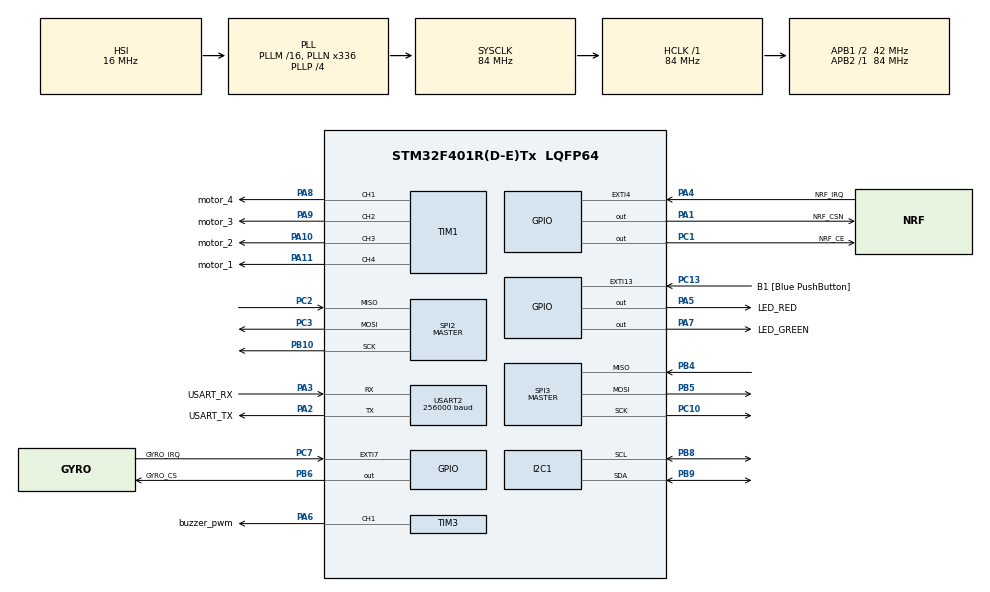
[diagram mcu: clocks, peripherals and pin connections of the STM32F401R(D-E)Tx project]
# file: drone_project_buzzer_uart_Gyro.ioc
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Mcu.Family=STM32F4
Mcu.Name=STM32F401R(D-E)Tx
Mcu.Package=LQFP64
NVIC.EXTI9_5_IRQn=true\:0\:0\:false\:false\:true\:true\:true\:true
NVIC.PriorityGroup=NVIC_PRIORITYGROUP_0
NVIC.USART2_IRQn=true\:0\:0\:false\:false\:true\:true\:true\:true
PA1.GPIO_Label=NRF_CSN
PA1.Signal=GPIO_Output
PA10.GPIO_Label=motor_2
PA10.Signal=S_TIM1_CH3
PA11.GPIO_Label=motor_1
PA11.Signal=S_TIM1_CH4
PA13.GPIO_Label=TMS
PA13.Signal=SYS_JTMS-SWDIO
PA14.GPIO_Label=TCK
PA14.Signal=SYS_JTCK-SWCLK
PA2.GPIO_Label=USART_TX
PA2.GPIO_Mode=GPIO_MODE_AF_PP
PA2.GPIO_PuPd=GPIO_NOPULL
PA2.GPIO_Speed=GPIO_SPEED_FREQ_LOW
PA2.Mode=Asynchronous
PA2.Signal=USART2_TX
PA3.GPIO_Label=USART_RX
PA3.GPIO_Mode=GPIO_MODE_AF_PP
PA3.GPIO_PuPd=GPIO_NOPULL
PA3.GPIO_Speed=GPIO_SPEED_FREQ_LOW
PA3.Mode=Asynchronous
PA3.Signal=USART2_RX
PA4.GPIO_Label=NRF_IRQ
PA4.Signal=GPXTI4
PA5.GPIO_Label=LED_RED
PA5.GPIO_Mode=GPIO_MODE_OUTPUT_PP
PA5.GPIO_PuPd=GPIO_NOPULL
PA5.GPIO_Speed=GPIO_SPEED_FREQ_LOW
PA5.Signal=GPIO_Output
PA6.GPIO_Label=buzzer_pwm
PA6.Signal=S_TIM3_CH1
PA7.GPIO_Label=LED_GREEN
PA7.Signal=GPIO_Output
PA8.GPIO_Label=motor_4
PA8.Signal=S_TIM1_CH1
PA9.GPIO_Label=motor_3
PA9.Signal=S_TIM1_CH2
PB10.Mode=Full_Duplex_Master
PB10.Signal=SPI2_SCK
PB3.GPIO_Label=SWO
PB3.Signal=SYS_JTDO-SWO
PB4.Mode=Full_Duplex_Master
PB4.Signal=SPI3_MISO
PB5.Mode=Full_Duplex_Master
PB5.Signal=SPI3_MOSI
PB6.GPIO_Label=GYRO_CS
PB6.GPIO_PuPd=GPIO_NOPULL
PB6.Signal=GPIO_Output
PB8.Mode=I2C
PB8.Signal=I2C1_SCL
PB9.Mode=I2C
PB9.Signal=I2C1_SDA
PC1.GPIO_Label=NRF_CE
PC1.Signal=GPIO_Output
PC10.Mode=Full_Duplex_Master
PC10.Signal=SPI3_SCK
PC13-ANTI_TAMP.GPIO_Label=B1 [Blue PushButton]
PC13-ANTI_TAMP.GPIO_ModeDefaultEXTI=GPIO_MODE_IT_FALLING
PC13-ANTI_TAMP.GPIO_PuPd=GPIO_NOPULL
PC13-ANTI_TAMP.Signal=GPXTI13
PC14-OSC32_IN.Signal=RCC_OSC32_IN
PC15-OSC32_OUT.Signal=RCC_OSC32_OUT
PC2.Mode=Full_Duplex_Master
PC2.Signal=SPI2_MISO
PC3.Mode=Full_Duplex_Master
PC3.Signal=SPI2_MOSI
PC7.GPIO_Label=GYRO_IRQ
PC7.Signal=GPXTI7
PH0\ -\ OSC_IN.Signal=RCC_OSC_IN
PH1\ -\ OSC_OUT.Signal=RCC_OSC_OUT
ProjectManager.HeapSize=0x200
ProjectManager.StackSize=0x400
ProjectManager.TargetToolchain=STM32CubeIDE
RCC.AHBFreq_Value=84000000
RCC.APB1CLKDivider=RCC_HCLK_DIV2
RCC.APB1Freq_Value=42000000
RCC.APB1TimFreq_Value=84000000
RCC.APB2Freq_Value=84000000
RCC.APB2TimFreq_Value=84000000
RCC.CortexFreq_Value=84000000
RCC.HCLKFreq_Value=84000000
RCC.HSE_VALUE=8000000
RCC.HSI_VALUE=16000000
RCC.LSE_VALUE=32768
RCC.PLLN=336
RCC.PLLP=RCC_PLLP_DIV4
RCC.PLLQ=7
RCC.SYSCLKFreq_VALUE=84000000
RCC.SYSCLKSource=RCC_SYSCLKSOURCE_PLLCLK
RCC.VCOOutputFreq_Value=336000000
SH.S_TIM1_CH1.0=TIM1_CH1,PWM Generation1 CH1
SH.S_TIM1_CH2.0=TIM1_CH2,PWM Generation2 CH2
SH.S_TIM1_CH3.0=TIM1_CH3,PWM Generation3 CH3
SH.S_TIM1_CH4.0=TIM1_CH4,PWM Generation4 CH4
SH.S_TIM3_CH1.0=TIM3_CH1,PWM Generation1 CH1
SPI2.Direction=SPI_DIRECTION_2LINES
SPI2.Mode=SPI_MODE_MASTER
SPI2.VirtualType=VM_MASTER
SPI3.BaudRatePrescaler=SPI_BAUDRATEPRESCALER_32
SPI3.Direction=SPI_DIRECTION_2LINES
SPI3.Mode=SPI_MODE_MASTER
SPI3.VirtualType=VM_MASTER
TIM1.Channel-PWM\ Generation1\ CH1=TIM_CHANNEL_1
TIM1.Channel-PWM\ Generation2\ CH2=TIM_CHANNEL_2
TIM1.Channel-PWM\ Generation3\ CH3=TIM_CHANNEL_3
TIM1.Channel-PWM\ Generation4\ CH4=TIM_CHANNEL_4
TIM3.AutoReloadPreload=TIM_AUTORELOAD_PRELOAD_ENABLE
TIM3.Channel-PWM\ Generation1\ CH1=TIM_CHANNEL_1
TIM3.Period=21
TIM3.Prescaler=999
TIM3.Pulse-PWM\ Generation1\ CH1=11
USART2.BaudRate=256000
USART2.VirtualMode=VM_ASYNC
VP_TIM3_VS_ClockSourceINT.Mode=Internal
board=NUCLEO-F401RE

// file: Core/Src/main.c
/* USER CODE BEGIN Header */
/**
  ******************************************************************************
  * @file           : main.c
  * @brief          : Main program body
  ******************************************************************************
  * @attention
  *
  * Copyright (c) 2024 STMicroelectronics.
  * All rights reserved.
  *
  * This software is licensed under terms that can be found in the LICENSE file
  * in the root directory of this software component.
  * If no LICENSE file comes with this software, it is provided AS-IS.
  *
  ******************************************************************************
  */
/* USER CODE END Header */
#include "main.h"
#include "i2c.h"
#include "spi.h"
#include "tim.h"
#include "usart.h"
#include "gpio.h"

/* USER CODE BEGIN Includes */
#include <stdio.h>
#include "mpu6500.h"
/* USER CODE END Includes */

/* USER CODE BEGIN PV */
uint16_t usart_data_req = 0 ;
uint8_t usart_rx_data  = 0;
uint8_t mpu_update = 0;

float gx, gy, gz ;
float ax, ay, az ;

/* USER CODE END PV */

void SystemClock_Config(void);

/* USER CODE BEGIN 0 */

int __io_putchar(int ch){
	while( !(LL_USART_IsActiveFlag_TXE(USART2))) ;
 LL_USART_TransmitData8(USART2, ch) ;
return ch ;
}

/* USER CODE END 0 */

int main(void)
{

  /* MCU Configuration--------------------------------------------------------*/

  /* Reset of all peripherals, Initializes the Flash interface and the Systick. */
  HAL_Init();

  /* Configure the system clock */
  SystemClock_Config();

  /* Initialize all configured peripherals */
  MX_GPIO_Init();
  MX_SPI2_Init();
  MX_I2C1_Init();
  MX_SPI3_Init();
  MX_TIM1_Init();
  MX_TIM3_Init();
  MX_USART2_UART_Init();
  /* USER CODE BEGIN 2 */

  LL_TIM_EnableCounter(TIM3);
  LL_TIM_CC_EnableChannel(TIM3, LL_TIM_CHANNEL_CH1);
  HAL_Delay(100) ;
  LL_TIM_SetAutoReload(TIM3, 40) ;
  HAL_Delay(100) ;
  LL_TIM_SetAutoReload(TIM3, 45) ;
  HAL_Delay(100) ;
  LL_TIM_SetAutoReload(TIM3, 50) ;
  HAL_Delay(100) ;
  LL_TIM_SetAutoReload(TIM3, 21) ;
  HAL_Delay(100) ;
  LL_TIM_CC_DisableChannel(TIM3, LL_TIM_CHANNEL_CH1) ;

  LL_USART_EnableIT_RXNE(USART2) ;
  LL_GPIO_SetOutputPin(GYRO_CS_GPIO_Port , GYRO_CS_Pin ) ;

  HAL_Delay(100) ;
  mpu_init(SPI3 , GFS_2000DPS ,AFS_16G) ;
  calib_mpu() ;

  LL_GPIO_TogglePin(LED_RED_GPIO_Port, LED_RED_Pin | LED_GREEN_Pin);
  HAL_Delay(1000) ;
  LL_GPIO_TogglePin(LED_RED_GPIO_Port, LED_RED_Pin | LED_GREEN_Pin);
  HAL_Delay(1000) ;

  /* USER CODE END 2 */

  /* Infinite loop */
  while (1)
  {

    /* USER CODE BEGIN 3 */

	  if (usart_data_req == 1 ) {
		usart_data_req = 0  ;
		usart_rx_data = LL_USART_ReceiveData8(USART2);
        LL_USART_TransmitData8(USART2, usart_rx_data) ;

        switch (usart_rx_data) {
			case '0':
		         LL_GPIO_TogglePin(LED_RED_GPIO_Port, LED_RED_Pin | LED_GREEN_Pin);
				break;
			case '1':
				 LL_TIM_CC_EnableChannel(TIM3, LL_TIM_CHANNEL_CH1);
				break;
			case '2':
				 LL_TIM_CC_DisableChannel(TIM3, LL_TIM_CHANNEL_CH1);
				break;
       }
	}

	if (mpu_update == 1) {
		mpu_update = 0 ;
		readSensor() ;
		getGyro(&gx, &gy, &gz) ;
		getAccel(&ax, &ay, &az) ;
	}

  }

  /* USER CODE END 3 */
}

void SystemClock_Config(void)
{
  RCC_OscInitTypeDef RCC_OscInitStruct = {0};
  RCC_ClkInitTypeDef RCC_ClkInitStruct = {0};

  /** Configure the main internal regulator output voltage
  */
  __HAL_RCC_PWR_CLK_ENABLE();
  __HAL_PWR_VOLTAGESCALING_CONFIG(PWR_REGULATOR_VOLTAGE_SCALE2);

  /** Initializes the RCC Oscillators according to the specified parameters
  * in the RCC_OscInitTypeDef structure.
  */
  RCC_OscInitStruct.OscillatorType = RCC_OSCILLATORTYPE_HSI;
  RCC_OscInitStruct.HSIState = RCC_HSI_ON;
  RCC_OscInitStruct.HSICalibrationValue = RCC_HSICALIBRATION_DEFAULT;
  RCC_OscInitStruct.PLL.PLLState = RCC_PLL_ON;
  RCC_OscInitStruct.PLL.PLLSource = RCC_PLLSOURCE_HSI;
  RCC_OscInitStruct.PLL.PLLM = 16;
  RCC_OscInitStruct.PLL.PLLN = 336;
  RCC_OscInitStruct.PLL.PLLP = RCC_PLLP_DIV4;
  RCC_OscInitStruct.PLL.PLLQ = 7;
  if (HAL_RCC_OscConfig(&RCC_OscInitStruct) != HAL_OK)
  {
    Error_Handler();
  }

  /** Initializes the CPU, AHB and APB buses clocks
  */
  RCC_ClkInitStruct.ClockType = RCC_CLOCKTYPE_HCLK|RCC_CLOCKTYPE_SYSCLK
                              |RCC_CLOCKTYPE_PCLK1|RCC_CLOCKTYPE_PCLK2;
  RCC_ClkInitStruct.SYSCLKSource = RCC_SYSCLKSOURCE_PLLCLK;
  RCC_ClkInitStruct.AHBCLKDivider = RCC_SYSCLK_DIV1;
  RCC_ClkInitStruct.APB1CLKDivider = RCC_HCLK_DIV2;
  RCC_ClkInitStruct.APB2CLKDivider = RCC_HCLK_DIV1;

  if (HAL_RCC_ClockConfig(&RCC_ClkInitStruct, FLASH_LATENCY_2) != HAL_OK)
  {
    Error_Handler();
  }
}

void Error_Handler(void)
{
  __disable_irq();
  while (1)
  {
  }
}
